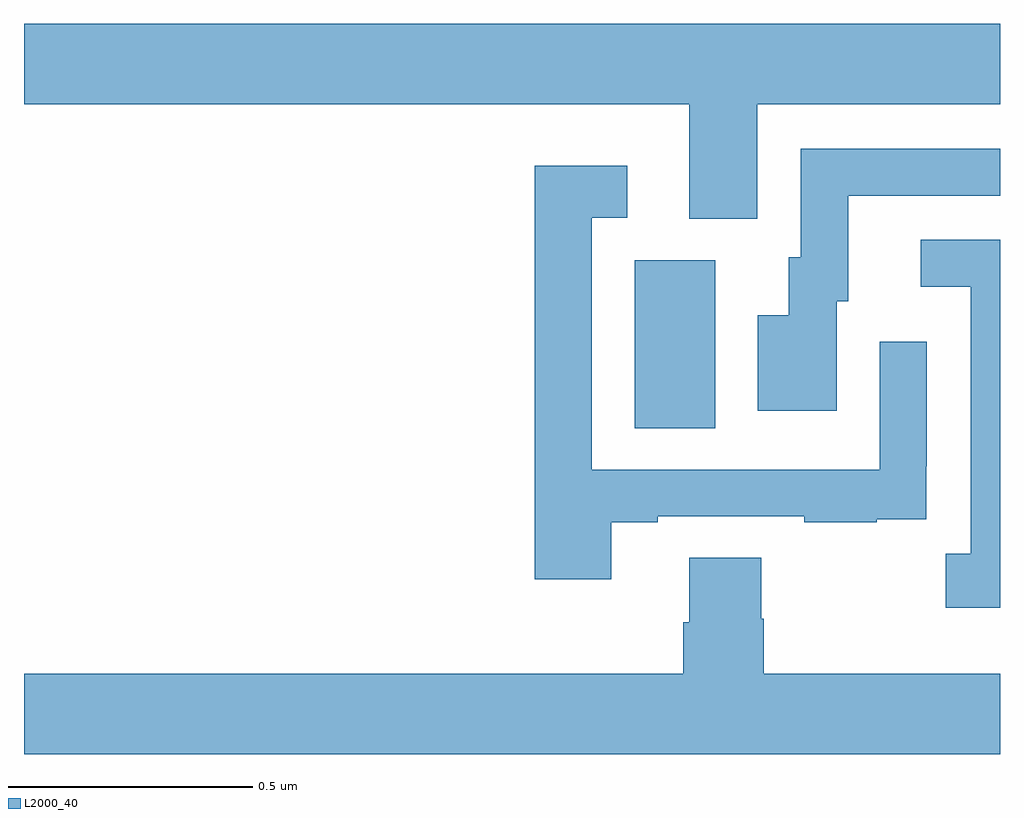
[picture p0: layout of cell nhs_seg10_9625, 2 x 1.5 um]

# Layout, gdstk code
import gdstk
lib = gdstk.Library(unit=1e-6, precision=1e-09)
def R(c, l, rs):  # rectangles x0, y0, x1, y1
    for r in rs: c.add(gdstk.rectangle(r[:2], r[2:], *l))
def P(c, l, *ps):  # polygons
    for p in ps: c.add(gdstk.Polygon(p, *l))
L2000_40 = (2000, 40)

nhs_seg10_9625 = lib.new_cell('nhs_seg10_9625')
R(nhs_seg10_9625, L2000_40, [(233.252,1274.344,233.416,1274.688)])
P(nhs_seg10_9625, L2000_40, [(233.503,1275.008),(234,1275.008),(234,1275.172),(232,1275.172),(232,1275.008),(233.363,1275.008),(233.363,1274.773),(233.503,1274.773)],
  [(233.665,1274.604),(233.689,1274.604),(233.689,1274.82),(234,1274.82),(234,1274.916),(233.592,1274.916),(233.592,1274.694),(233.567,1274.694),(233.567,1274.575),(233.504,1274.575),(233.504,1274.379),(233.665,1274.379)],
  [(233.203,1274.151),(233.299,1274.151),(233.299,1274.163),(233.599,1274.163),(233.599,1274.151),(233.747,1274.151),(233.747,1274.157),(233.849,1274.157),(233.849,1274.266),(233.85,1274.266),(233.85,1274.521),(233.754,1274.521),(233.754,1274.259),(233.163,1274.259),(233.163,1274.775),(233.236,1274.775),(233.236,1274.881),(233.047,1274.881),(233.047,1274.034),(233.203,1274.034)],
  [(234,1274.73),(233.838,1274.73),(233.838,1274.634),(233.94,1274.634),(233.94,1274.086),(233.889,1274.086),(233.889,1273.976),(234,1273.976)],
  [(234,1273.84),(233.516,1273.84),(233.516,1273.953),(233.511,1273.953),(233.511,1274.078),(233.363,1274.078),(233.363,1273.946),(233.351,1273.946),(233.351,1273.84),(232,1273.84),(232,1273.676),(234,1273.676)])

lib.write_gds('nhs_seg10_9625.gds')
